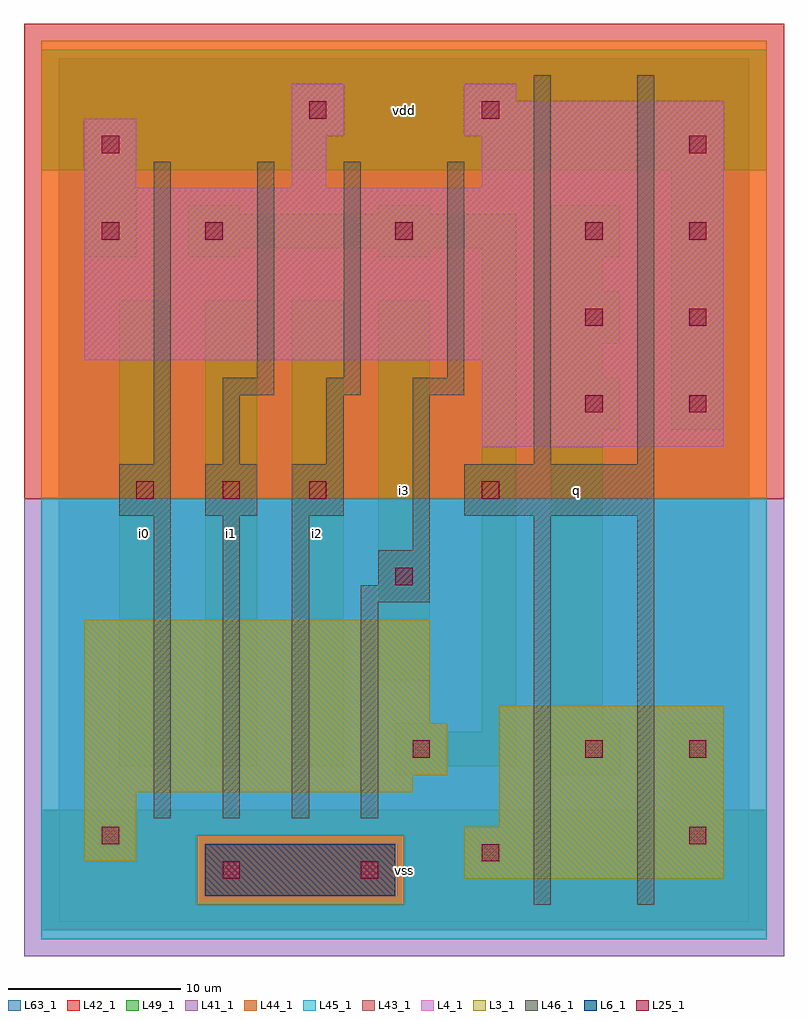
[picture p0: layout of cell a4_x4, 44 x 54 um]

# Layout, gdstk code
import gdstk
lib = gdstk.Library(unit=1e-6, precision=1e-09)
def R(c, l, rs):  # rectangles x0, y0, x1, y1
    for r in rs: c.add(gdstk.rectangle(r[:2], r[2:], *l))
def A(c, l, x, y, w, h, nx, ny, dx, dy):  # array of equal rectangles
    R(c, l, [(x+i*dx, y+j*dy, x+i*dx+w, y+j*dy+h) for i in range(nx) for j in range(ny)])
L3_1 = (3, 1)
L4_1 = (4, 1)
L6_1 = (6, 1)
L25_1 = (25, 1)
L41_1 = (41, 1)
L42_1 = (42, 1)
L43_1 = (43, 1)
L44_1 = (44, 1)
L45_1 = (45, 1)
L46_1 = (46, 1)
L49_1 = (49, 1)
L63_1 = (63, 1)

a4_x4 = lib.new_cell('a4_x4')
R(a4_x4, L3_1, [(23.5,2.5,38.5,5.5), (1.5,3.5,4.5,7.5), (25.5,5.5,38.5,12.5), (1.5,7.5,20.5,8.5), (1.5,8.5,22.5,11.5), (1.5,11.5,21.5,17.5)])
R(a4_x4, L4_1, [(24.5,27.5,38.5,32.5), (1.5,32.5,38.5,42.5), (1.5,42.5,4.5,46.5), (13.5,42.5,15.5,45.5), (24.5,42.5,38.5,45.5), (13.5,45.5,16.5,48.5), (23.5,45.5,38.5,47.5), (23.5,47.5,26.5,48.5)])
R(a4_x4, L6_1, [(8.5,1.5,19.5,4.5)])
A(a4_x4, L25_1, 4.5, 24.5, 1, 1, 3, 1, 5, 0)
A(a4_x4, L25_1, 36.5, 29.5, 1, 1, 1, 4, 0, 5)
A(a4_x4, L25_1, 8.5, 39.5, 1, 1, 3, 1, 11, 0)
R(a4_x4, L25_1, [(9.5,2.5,10.5,3.5), (17.5,2.5,18.5,3.5), (24.5,3.5,25.5,4.5), (2.5,4.5,3.5,5.5), (36.5,4.5,37.5,5.5), (20.5,9.5,21.5,10.5), (30.5,9.5,31.5,10.5), (36.5,9.5,37.5,10.5), (19.5,19.5,20.5,20.5), (24.5,24.5,25.5,25.5), (30.5,29.5,31.5,30.5), (30.5,34.5,31.5,35.5), (2.5,39.5,3.5,40.5), (2.5,44.5,3.5,45.5), (14.5,46.5,15.5,47.5), (24.5,46.5,25.5,47.5)])
R(a4_x4, L41_1, [(-2,-2,42,24.5)])
R(a4_x4, L42_1, [(-2,24.5,42,52)])
R(a4_x4, L43_1, [(8.5,1.5,19.5,4.5), (23.5,2.5,38.5,5.5), (1.5,3.5,4.5,7.5), (25.5,5.5,38.5,12.5), (1.5,7.5,20.5,8.5), (1.5,8.5,22.5,11.5), (1.5,11.5,21.5,17.5), (24.5,27.5,38.5,32.5), (1.5,32.5,38.5,42.5), (1.5,42.5,4.5,46.5), (13.5,42.5,15.5,45.5), (24.5,42.5,38.5,45.5), (13.5,45.5,16.5,48.5), (23.5,45.5,38.5,47.5), (23.5,47.5,26.5,48.5)])
R(a4_x4, L44_1, [(8,1,20,5), (-1,24.5,41,51)])
R(a4_x4, L45_1, [(-1,-1,41,1), (-1,1,8,5), (20,1,41,5), (-1,5,41,24.5)])
A(a4_x4, L46_1, 5.5, 6, 1, 17.5, 3, 1, 4, 0)
A(a4_x4, L46_1, 3.5, 23.5, 3, 3, 3, 1, 5, 0)
R(a4_x4, L46_1, [(27.5,1,28.5,23.5), (33.5,1,34.5,23.5), (17.5,6,18.5,18.5), (17.5,18.5,21.5,19.5), (18.5,19.5,21.5,21.5), (20.5,21.5,21.5,30.5), (23.5,23.5,34.5,26.5), (5.5,26.5,6.5,44), (9.5,26.5,10.5,30.5), (15.5,26.5,16.5,30.5), (27.5,26.5,28.5,49), (33.5,26.5,34.5,49), (9.5,30.5,12.5,31.5), (15.5,30.5,17.5,31.5), (20.5,30.5,23.5,31.5), (11.5,31.5,12.5,44), (16.5,31.5,17.5,44), (22.5,31.5,23.5,44)])
A(a4_x4, L49_1, 3.5, 9, 3, 27, 3, 1, 5, 0)
A(a4_x4, L49_1, 28.5, 28.5, 4, 3, 1, 3, 0, 5)
R(a4_x4, L49_1, [(-1,-0.5,41,6.5), (35.5,6.5,38.5,11.5), (19.5,8.5,22.5,9), (28.5,8.5,32.5,11.5), (19.5,9,26.5,11), (19.5,11,22.5,11.5), (24.5,11,26.5,23.5), (28.5,11.5,31.5,28.5), (18.5,14,21.5,36), (23.5,23.5,26.5,26.5), (24.5,26.5,26.5,39), (35.5,28.5,38.5,43.5), (28.5,31.5,31.5,33.5), (28.5,36.5,31.5,38.5), (1.5,38.5,4.5,43.5), (7.5,38.5,10.5,39), (18.5,38.5,21.5,39), (7.5,39,26.5,41), (7.5,41,10.5,41.5), (18.5,41,21.5,41.5), (-1,43.5,41,50.5)])
R(a4_x4, L63_1, [(0,0,40,50)])
a4_x4.add(gdstk.Label('i0', (5,22.5), layer=49, texttype=1))
a4_x4.add(gdstk.Label('i0', (5,22.5), layer=49, texttype=1))
a4_x4.add(gdstk.Label('i1', (10,22.5), layer=49, texttype=1))
a4_x4.add(gdstk.Label('i1', (10,22.5), layer=49, texttype=1))
a4_x4.add(gdstk.Label('i2', (15,22.5), layer=49, texttype=1))
a4_x4.add(gdstk.Label('i2', (15,22.5), layer=49, texttype=1))
a4_x4.add(gdstk.Label('vss', (20,3), layer=49, texttype=1))
a4_x4.add(gdstk.Label('vss', (20,3), layer=49, texttype=1))
a4_x4.add(gdstk.Label('q', (30,25), layer=49, texttype=1))
a4_x4.add(gdstk.Label('q', (30,25), layer=49, texttype=1))
a4_x4.add(gdstk.Label('i3', (20,25), layer=49, texttype=1))
a4_x4.add(gdstk.Label('i3', (20,25), layer=49, texttype=1))
a4_x4.add(gdstk.Label('vdd', (20,47), layer=49, texttype=1))
a4_x4.add(gdstk.Label('vdd', (20,47), layer=49, texttype=1))

lib.write_gds('a4_x4.gds')
